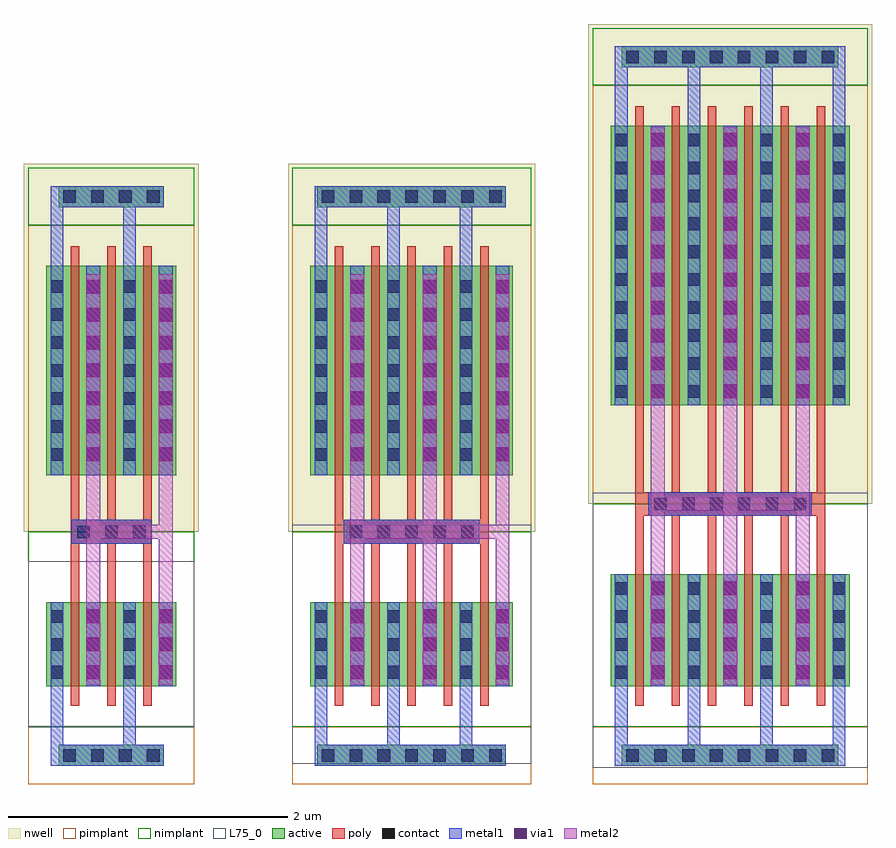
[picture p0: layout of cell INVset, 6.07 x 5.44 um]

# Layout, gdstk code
import gdstk
lib = gdstk.Library(unit=1e-6, precision=1e-09)
def R(c, l, rs):  # rectangles x0, y0, x1, y1
    for r in rs: c.add(gdstk.rectangle(r[:2], r[2:], *l))
def A(c, l, x, y, w, h, nx, ny, dx, dy):  # array of equal rectangles
    R(c, l, [(x+i*dx, y+j*dy, x+i*dx+w, y+j*dy+h) for i in range(nx) for j in range(ny)])
nwell = (3, 0)
active = (6, 0)
poly = (17, 0)
pimplant = (25, 0)
nimplant = (26, 0)
contact = (30, 0)
metal1 = (31, 0)
metal2 = (32, 0)
via1 = (51, 0)
L75_0 = (75, 0)

pmosininv = lib.new_cell('PMOSInINV')
R(pmosininv, active, [(-0.465,-0.75,0.465,0.75)])
A(pmosininv, poly, -0.29, -0.89, 0.06, 1.78, 3, 1, 0.26, 0)
R(pmosininv, pimplant, [(-0.595,-1.04,0.595,1.04)])
A(pmosininv, contact, -0.435, -0.645, 0.09, 0.09, 4, 7, 0.26, 0.2)
A(pmosininv, metal1, -0.435, -0.75, 0.09, 1.5, 4, 1, 0.26, 0)

nmosininv = lib.new_cell('NMOSInINV')
R(nmosininv, active, [(-0.465,-0.3,0.465,0.3)])
A(nmosininv, poly, -0.29, -0.44, 0.06, 0.88, 3, 1, 0.26, 0)
R(nmosininv, nimplant, [(-0.595,-0.59,0.595,0.59)])
A(nmosininv, contact, -0.435, -0.245, 0.09, 0.09, 4, 3, 0.26, 0.2)
A(nmosininv, metal1, -0.435, -0.3, 0.09, 0.6, 4, 1, 0.26, 0)
R(nmosininv, L75_0, [(-0.595,-0.595,0.595,0.595)])

m2_m1_cdns_568721318100 = lib.new_cell('M2_M1_CDNS_568721318100')
R(m2_m1_cdns_568721318100, metal1, [(-0.05,-0.29,0.05,0.29)])
R(m2_m1_cdns_568721318100, metal2, [(-0.05,-0.29,0.05,0.29)])
A(m2_m1_cdns_568721318100, via1, -0.05, -0.25, 0.1, 0.1, 1, 3, 0, 0.2)

m1_nod_cdns_568721318101 = lib.new_cell('M1_NOD_CDNS_568721318101')
R(m1_nod_cdns_568721318101, active, [(-0.375,-0.075,0.375,0.075)])
R(m1_nod_cdns_568721318101, nimplant, [(-0.505,-0.205,0.505,0.205)])
A(m1_nod_cdns_568721318101, contact, -0.345, -0.045, 0.09, 0.09, 4, 1, 0.2, 0)
R(m1_nod_cdns_568721318101, metal1, [(-0.375,-0.075,0.375,0.075)])

m2_m1_cdns_568721318102 = lib.new_cell('M2_M1_CDNS_568721318102')
R(m2_m1_cdns_568721318102, metal1, [(-0.05,-0.69,0.05,0.69)])
R(m2_m1_cdns_568721318102, metal2, [(-0.05,-0.69,0.05,0.69)])
A(m2_m1_cdns_568721318102, via1, -0.05, -0.65, 0.1, 0.1, 1, 7, 0, 0.2)

m1_po_cdns_568721318103 = lib.new_cell('M1_PO_CDNS_568721318103')
R(m1_po_cdns_568721318103, poly, [(-0.285,-0.085,0.285,0.085)])
A(m1_po_cdns_568721318103, contact, -0.245, -0.045, 0.09, 0.09, 3, 1, 0.2, 0)
R(m1_po_cdns_568721318103, metal1, [(-0.285,-0.085,0.285,0.085)])

m1_pod_cdns_568721318104 = lib.new_cell('M1_POD_CDNS_568721318104')
R(m1_pod_cdns_568721318104, active, [(-0.375,-0.075,0.375,0.075)])
R(m1_pod_cdns_568721318104, pimplant, [(-0.505,-0.205,0.505,0.205)])
A(m1_pod_cdns_568721318104, contact, -0.345, -0.045, 0.09, 0.09, 4, 1, 0.2, 0)
R(m1_pod_cdns_568721318104, metal1, [(-0.375,-0.075,0.375,0.075)])

inv = lib.new_cell('INV')
R(inv, nwell, [(-0.625,1.6,0.625,4.235)])
R(inv, poly, [(-0.26,1.515,0.26,1.685)])
R(inv, pimplant, [(-0.595,-0.205,0.595,0.205), (-0.595,1.6,0.595,3.795)])
R(inv, nimplant, [(-0.595,0.205,0.595,1.6), (-0.595,3.795,0.595,4.205)])
R(inv, metal1, [(-0.18,0.495,-0.08,1.095), (0.34,0.495,0.44,1.095), (-0.18,2.005,-0.08,3.505), (0.34,2.005,0.44,3.505)])
inv.add(gdstk.FlexPath([(0.13,2.755),(0.13,4.075)], 0.09, ends="flush", simple_path=True, layer=31, datatype=0))  # metal1
inv.add(gdstk.FlexPath([(-0.39,2.755),(-0.39,4.075)], 0.09, ends="flush", simple_path=True, layer=31, datatype=0))  # metal1
inv.add(gdstk.FlexPath([(0.13,0.795),(0.13,-0.075)], 0.09, ends="flush", simple_path=True, layer=31, datatype=0))  # metal1
inv.add(gdstk.FlexPath([(-0.39,0.795),(-0.39,-0.075)], 0.09, ends="flush", simple_path=True, layer=31, datatype=0))  # metal1
inv.add(gdstk.FlexPath([(0.39,2.755),(0.39,0.795)], 0.1, ends="flush", simple_path=True, layer=32, datatype=0))  # metal2
inv.add(gdstk.FlexPath([(-0.13,2.755),(-0.13,0.795)], 0.1, ends="flush", simple_path=True, layer=32, datatype=0))  # metal2
inv.add(gdstk.FlexPath([(-0.13,1.6),(0.39,1.6)], 0.1, ends="flush", simple_path=True, layer=32, datatype=0))  # metal2
inv.add(gdstk.FlexPath([(0.26,0.795),(0.26,2.755)], 0.06, ends="flush", simple_path=True, layer=17, datatype=0))  # poly
inv.add(gdstk.FlexPath([(0,0.795),(0,2.755)], 0.06, ends="flush", simple_path=True, layer=17, datatype=0))  # poly
inv.add(gdstk.FlexPath([(-0.26,0.795),(-0.26,2.755)], 0.06, ends="flush", simple_path=True, layer=17, datatype=0))  # poly
inv.add(gdstk.Reference(pmosininv, (0,2.755)))
inv.add(gdstk.Reference(nmosininv, (0,0.795)))
inv.add(gdstk.Reference(m2_m1_cdns_568721318100, (0.39,0.795)))
inv.add(gdstk.Reference(m2_m1_cdns_568721318100, (-0.13,0.795)))
inv.add(gdstk.Reference(m1_nod_cdns_568721318101, (0,4)))
inv.add(gdstk.Reference(m2_m1_cdns_568721318102, (0.39,2.755)))
inv.add(gdstk.Reference(m2_m1_cdns_568721318102, (-0.13,2.755)))
inv.add(gdstk.Reference(m1_po_cdns_568721318103, (0,1.6)))
inv.add(gdstk.Reference(m1_pod_cdns_568721318104, (0,0)))

pmosininv_0 = lib.new_cell('PMOSInINV_0')
R(pmosininv_0, active, [(-0.725,-0.75,0.725,0.75)])
A(pmosininv_0, poly, -0.55, -0.89, 0.06, 1.78, 5, 1, 0.26, 0)
R(pmosininv_0, pimplant, [(-0.855,-1.04,0.855,1.04)])
A(pmosininv_0, contact, -0.695, -0.645, 0.09, 0.09, 6, 7, 0.26, 0.2)
A(pmosininv_0, metal1, -0.695, -0.75, 0.09, 1.5, 6, 1, 0.26, 0)

nmosininv_0 = lib.new_cell('NMOSInINV_0')
R(nmosininv_0, active, [(-0.725,-0.3,0.725,0.3)])
A(nmosininv_0, poly, -0.55, -0.44, 0.06, 0.88, 5, 1, 0.26, 0)
R(nmosininv_0, nimplant, [(-0.855,-0.59,0.855,0.59)])
A(nmosininv_0, contact, -0.695, -0.245, 0.09, 0.09, 6, 3, 0.26, 0.2)
A(nmosininv_0, metal1, -0.695, -0.3, 0.09, 0.6, 6, 1, 0.26, 0)
R(nmosininv_0, L75_0, [(-0.855,-0.855,0.855,0.855)])

m1_nod_cdns_568721318105 = lib.new_cell('M1_NOD_CDNS_568721318105')
R(m1_nod_cdns_568721318105, active, [(-0.675,-0.075,0.675,0.075)])
R(m1_nod_cdns_568721318105, nimplant, [(-0.805,-0.205,0.805,0.205)])
A(m1_nod_cdns_568721318105, contact, -0.645, -0.045, 0.09, 0.09, 7, 1, 0.2, 0)
R(m1_nod_cdns_568721318105, metal1, [(-0.675,-0.075,0.675,0.075)])

m1_po_cdns_568721318106 = lib.new_cell('M1_PO_CDNS_568721318106')
R(m1_po_cdns_568721318106, poly, [(-0.485,-0.085,0.485,0.085)])
A(m1_po_cdns_568721318106, contact, -0.445, -0.045, 0.09, 0.09, 5, 1, 0.2, 0)
R(m1_po_cdns_568721318106, metal1, [(-0.485,-0.085,0.485,0.085)])

m1_pod_cdns_568721318107 = lib.new_cell('M1_POD_CDNS_568721318107')
R(m1_pod_cdns_568721318107, active, [(-0.675,-0.075,0.675,0.075)])
R(m1_pod_cdns_568721318107, pimplant, [(-0.805,-0.205,0.805,0.205)])
A(m1_pod_cdns_568721318107, contact, -0.645, -0.045, 0.09, 0.09, 7, 1, 0.2, 0)
R(m1_pod_cdns_568721318107, metal1, [(-0.675,-0.075,0.675,0.075)])

inv_0 = lib.new_cell('INV_0')
R(inv_0, nwell, [(-0.885,1.6,0.885,4.235)])
R(inv_0, poly, [(-0.52,1.515,0.52,1.685)])
R(inv_0, pimplant, [(-0.855,-0.205,0.855,0.205), (-0.855,1.6,0.855,3.795)])
R(inv_0, nimplant, [(-0.855,0.205,0.855,1.6), (-0.855,3.795,0.855,4.205)])
A(inv_0, metal1, -0.44, 0.495, 0.1, 0.6, 3, 1, 0.52, 0)
A(inv_0, metal1, -0.44, 2.005, 0.1, 1.5, 3, 1, 0.52, 0)
inv_0.add(gdstk.FlexPath([(0.39,2.755),(0.39,4.075)], 0.09, ends="flush", simple_path=True, layer=31, datatype=0))  # metal1
inv_0.add(gdstk.FlexPath([(-0.13,2.755),(-0.13,4.075)], 0.09, ends="flush", simple_path=True, layer=31, datatype=0))  # metal1
inv_0.add(gdstk.FlexPath([(-0.65,2.755),(-0.65,4.075)], 0.09, ends="flush", simple_path=True, layer=31, datatype=0))  # metal1
inv_0.add(gdstk.FlexPath([(0.39,0.795),(0.39,-0.075)], 0.09, ends="flush", simple_path=True, layer=31, datatype=0))  # metal1
inv_0.add(gdstk.FlexPath([(-0.13,0.795),(-0.13,-0.075)], 0.09, ends="flush", simple_path=True, layer=31, datatype=0))  # metal1
inv_0.add(gdstk.FlexPath([(-0.65,0.795),(-0.65,-0.075)], 0.09, ends="flush", simple_path=True, layer=31, datatype=0))  # metal1
inv_0.add(gdstk.FlexPath([(0.65,2.755),(0.65,0.795)], 0.1, ends="flush", simple_path=True, layer=32, datatype=0))  # metal2
inv_0.add(gdstk.FlexPath([(0.13,2.755),(0.13,0.795)], 0.1, ends="flush", simple_path=True, layer=32, datatype=0))  # metal2
inv_0.add(gdstk.FlexPath([(-0.39,2.755),(-0.39,0.795)], 0.1, ends="flush", simple_path=True, layer=32, datatype=0))  # metal2
inv_0.add(gdstk.FlexPath([(-0.39,1.6),(0.65,1.6)], 0.1, ends="flush", simple_path=True, layer=32, datatype=0))  # metal2
inv_0.add(gdstk.FlexPath([(0.52,0.795),(0.52,2.755)], 0.06, ends="flush", simple_path=True, layer=17, datatype=0))  # poly
inv_0.add(gdstk.FlexPath([(0.26,0.795),(0.26,2.755)], 0.06, ends="flush", simple_path=True, layer=17, datatype=0))  # poly
inv_0.add(gdstk.FlexPath([(0,0.795),(0,2.755)], 0.06, ends="flush", simple_path=True, layer=17, datatype=0))  # poly
inv_0.add(gdstk.FlexPath([(-0.26,0.795),(-0.26,2.755)], 0.06, ends="flush", simple_path=True, layer=17, datatype=0))  # poly
inv_0.add(gdstk.FlexPath([(-0.52,0.795),(-0.52,2.755)], 0.06, ends="flush", simple_path=True, layer=17, datatype=0))  # poly
inv_0.add(gdstk.Reference(pmosininv_0, (0,2.755)))
inv_0.add(gdstk.Reference(nmosininv_0, (0,0.795)))
inv_0.add(gdstk.Reference(m2_m1_cdns_568721318100, (0.65,0.795)))
inv_0.add(gdstk.Reference(m2_m1_cdns_568721318100, (0.13,0.795)))
inv_0.add(gdstk.Reference(m2_m1_cdns_568721318100, (-0.39,0.795)))
inv_0.add(gdstk.Reference(m1_nod_cdns_568721318105, (0,4)))
inv_0.add(gdstk.Reference(m2_m1_cdns_568721318102, (0.65,2.755)))
inv_0.add(gdstk.Reference(m2_m1_cdns_568721318102, (0.13,2.755)))
inv_0.add(gdstk.Reference(m2_m1_cdns_568721318102, (-0.39,2.755)))
inv_0.add(gdstk.Reference(m1_po_cdns_568721318106, (0,1.6)))
inv_0.add(gdstk.Reference(m1_pod_cdns_568721318107, (0,0)))

pmosininv_1 = lib.new_cell('PMOSInINV_1')
R(pmosininv_1, active, [(-0.855,-1,0.855,1)])
A(pmosininv_1, poly, -0.68, -1.14, 0.06, 2.28, 6, 1, 0.26, 0)
R(pmosininv_1, pimplant, [(-0.985,-1.29,0.985,1.29)])
A(pmosininv_1, contact, -0.825, -0.945, 0.09, 0.09, 7, 10, 0.26, 0.2)
A(pmosininv_1, metal1, -0.825, -1, 0.09, 2, 7, 1, 0.26, 0)

nmosininv_1 = lib.new_cell('NMOSInINV_1')
R(nmosininv_1, active, [(-0.855,-0.4,0.855,0.4)])
A(nmosininv_1, poly, -0.68, -0.54, 0.06, 1.08, 6, 1, 0.26, 0)
R(nmosininv_1, nimplant, [(-0.985,-0.69,0.985,0.69)])
A(nmosininv_1, contact, -0.825, -0.345, 0.09, 0.09, 7, 4, 0.26, 0.2)
A(nmosininv_1, metal1, -0.825, -0.4, 0.09, 0.8, 7, 1, 0.26, 0)
R(nmosininv_1, L75_0, [(-0.985,-0.985,0.985,0.985)])

m2_m1_cdns_568721318108 = lib.new_cell('M2_M1_CDNS_568721318108')
R(m2_m1_cdns_568721318108, metal1, [(-0.05,-0.39,0.05,0.39)])
R(m2_m1_cdns_568721318108, metal2, [(-0.05,-0.39,0.05,0.39)])
A(m2_m1_cdns_568721318108, via1, -0.05, -0.35, 0.1, 0.1, 1, 4, 0, 0.2)

m1_nod_cdns_568721318109 = lib.new_cell('M1_NOD_CDNS_568721318109')
R(m1_nod_cdns_568721318109, active, [(-0.775,-0.075,0.775,0.075)])
R(m1_nod_cdns_568721318109, nimplant, [(-0.905,-0.205,0.905,0.205)])
A(m1_nod_cdns_568721318109, contact, -0.745, -0.045, 0.09, 0.09, 8, 1, 0.2, 0)
R(m1_nod_cdns_568721318109, metal1, [(-0.775,-0.075,0.775,0.075)])

m2_m1_cdns_5687213181010 = lib.new_cell('M2_M1_CDNS_5687213181010')
R(m2_m1_cdns_5687213181010, metal1, [(-0.05,-0.99,0.05,0.99)])
R(m2_m1_cdns_5687213181010, metal2, [(-0.05,-0.99,0.05,0.99)])
A(m2_m1_cdns_5687213181010, via1, -0.05, -0.95, 0.1, 0.1, 1, 10, 0, 0.2)

m1_po_cdns_5687213181011 = lib.new_cell('M1_PO_CDNS_5687213181011')
R(m1_po_cdns_5687213181011, poly, [(-0.585,-0.085,0.585,0.085)])
A(m1_po_cdns_5687213181011, contact, -0.545, -0.045, 0.09, 0.09, 6, 1, 0.2, 0)
R(m1_po_cdns_5687213181011, metal1, [(-0.585,-0.085,0.585,0.085)])

m1_pod_cdns_568721318101 = lib.new_cell('M1_POD_CDNS_5687213181012')
R(m1_pod_cdns_568721318101, active, [(-0.775,-0.075,0.775,0.075)])
R(m1_pod_cdns_568721318101, pimplant, [(-0.905,-0.205,0.905,0.205)])
A(m1_pod_cdns_568721318101, contact, -0.745, -0.045, 0.09, 0.09, 8, 1, 0.2, 0)
R(m1_pod_cdns_568721318101, metal1, [(-0.775,-0.075,0.775,0.075)])

inv_1 = lib.new_cell('INV_1')
R(inv_1, nwell, [(-1.015,1.8,1.015,5.235)])
R(inv_1, poly, [(-0.65,1.715,0.65,1.885)])
R(inv_1, pimplant, [(-0.985,-0.205,0.985,0.205), (-0.985,1.8,0.985,4.795)])
R(inv_1, nimplant, [(-0.985,0.205,0.985,1.8), (-0.985,4.795,0.985,5.205)])
A(inv_1, metal1, -0.57, 0.495, 0.1, 0.8, 3, 1, 0.52, 0)
A(inv_1, metal1, -0.57, 2.505, 0.1, 2, 3, 1, 0.52, 0)
inv_1.add(gdstk.FlexPath([(0.78,3.505),(0.78,5.075)], 0.09, ends="flush", simple_path=True, layer=31, datatype=0))  # metal1
inv_1.add(gdstk.FlexPath([(0.26,3.505),(0.26,5.075)], 0.09, ends="flush", simple_path=True, layer=31, datatype=0))  # metal1
inv_1.add(gdstk.FlexPath([(-0.26,3.505),(-0.26,5.075)], 0.09, ends="flush", simple_path=True, layer=31, datatype=0))  # metal1
inv_1.add(gdstk.FlexPath([(-0.78,3.505),(-0.78,5.075)], 0.09, ends="flush", simple_path=True, layer=31, datatype=0))  # metal1
inv_1.add(gdstk.FlexPath([(0.78,0.895),(0.78,-0.075)], 0.09, ends="flush", simple_path=True, layer=31, datatype=0))  # metal1
inv_1.add(gdstk.FlexPath([(0.26,0.895),(0.26,-0.075)], 0.09, ends="flush", simple_path=True, layer=31, datatype=0))  # metal1
inv_1.add(gdstk.FlexPath([(-0.26,0.895),(-0.26,-0.075)], 0.09, ends="flush", simple_path=True, layer=31, datatype=0))  # metal1
inv_1.add(gdstk.FlexPath([(-0.78,0.895),(-0.78,-0.075)], 0.09, ends="flush", simple_path=True, layer=31, datatype=0))  # metal1
inv_1.add(gdstk.FlexPath([(0.52,3.505),(0.52,0.895)], 0.1, ends="flush", simple_path=True, layer=32, datatype=0))  # metal2
inv_1.add(gdstk.FlexPath([(0,3.505),(0,0.895)], 0.1, ends="flush", simple_path=True, layer=32, datatype=0))  # metal2
inv_1.add(gdstk.FlexPath([(-0.52,3.505),(-0.52,0.895)], 0.1, ends="flush", simple_path=True, layer=32, datatype=0))  # metal2
inv_1.add(gdstk.FlexPath([(-0.52,1.8),(0.52,1.8)], 0.1, ends="flush", simple_path=True, layer=32, datatype=0))  # metal2
inv_1.add(gdstk.FlexPath([(0.65,0.895),(0.65,3.505)], 0.06, ends="flush", simple_path=True, layer=17, datatype=0))  # poly
inv_1.add(gdstk.FlexPath([(0.39,0.895),(0.39,3.505)], 0.06, ends="flush", simple_path=True, layer=17, datatype=0))  # poly
inv_1.add(gdstk.FlexPath([(0.13,0.895),(0.13,3.505)], 0.06, ends="flush", simple_path=True, layer=17, datatype=0))  # poly
inv_1.add(gdstk.FlexPath([(-0.13,0.895),(-0.13,3.505)], 0.06, ends="flush", simple_path=True, layer=17, datatype=0))  # poly
inv_1.add(gdstk.FlexPath([(-0.39,0.895),(-0.39,3.505)], 0.06, ends="flush", simple_path=True, layer=17, datatype=0))  # poly
inv_1.add(gdstk.FlexPath([(-0.65,0.895),(-0.65,3.505)], 0.06, ends="flush", simple_path=True, layer=17, datatype=0))  # poly
inv_1.add(gdstk.Reference(pmosininv_1, (0,3.505)))
inv_1.add(gdstk.Reference(nmosininv_1, (0,0.895)))
inv_1.add(gdstk.Reference(m2_m1_cdns_568721318108, (0.52,0.895)))
inv_1.add(gdstk.Reference(m2_m1_cdns_568721318108, (0,0.895)))
inv_1.add(gdstk.Reference(m2_m1_cdns_568721318108, (-0.52,0.895)))
inv_1.add(gdstk.Reference(m1_nod_cdns_568721318109, (0,5)))
inv_1.add(gdstk.Reference(m2_m1_cdns_5687213181010, (0.52,3.505)))
inv_1.add(gdstk.Reference(m2_m1_cdns_5687213181010, (0,3.505)))
inv_1.add(gdstk.Reference(m2_m1_cdns_5687213181010, (-0.52,3.505)))
inv_1.add(gdstk.Reference(m1_po_cdns_5687213181011, (0,1.8)))
inv_1.add(gdstk.Reference(m1_pod_cdns_568721318101, (0,0)))

invset = lib.new_cell('INVset')
invset.add(gdstk.Reference(inv, (0,0)))
invset.add(gdstk.Reference(inv_0, (2.15,0)))
invset.add(gdstk.Reference(inv_1, (4.43,0)))

lib.write_gds('INVset.gds')
